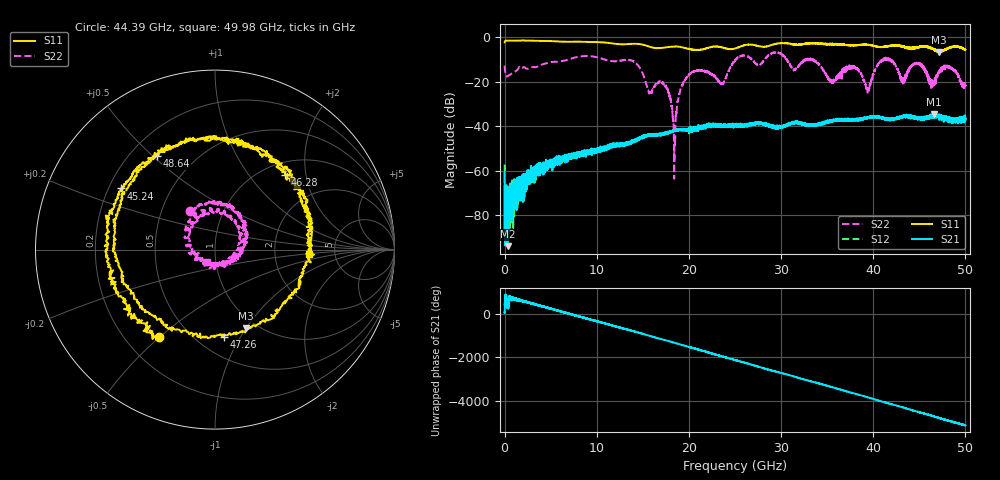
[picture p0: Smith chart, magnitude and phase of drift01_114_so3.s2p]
!Created with skrf (http://scikit-rf.org).
# Hz S RI R 50.0
!freq ReS11 ImS11 ReS21 ImS21 ReS12 ImS12 ReS22 ImS22
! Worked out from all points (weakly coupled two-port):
!   10001 points, 300 kHz to 50 GHz, reference 50 ohm
!   highest |S21| = -34.50 dB at 46.62 GHz (marker M1); lowest = -93.8 dB at 315.3 MHz (marker M2)
!   lowest |S11| = -6.5 dB at 47.15 GHz (marker M3), VSWR 2.78, Z = 44.6 - j50.1 ohm
!   |S11| at or under -10 dB: nowhere
!   |S22| runs from -63.5 to -6.7 dB; largest |S21 - S12| = 0.0047
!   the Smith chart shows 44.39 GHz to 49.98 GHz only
!   S11 on the Smith chart (normalised r, x): 44.39 GHz: 0.34, -0.50; 45.24 GHz: 0.25, +0.28; 46.28 GHz: 1.25, +1.53; 47.26 GHz: 0.67, -0.85; 48.64 GHz: 0.31, +0.51; 49.98 GHz: 3.21, -0.20
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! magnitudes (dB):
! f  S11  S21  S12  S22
! 300 kHz  -2.1  -60.9  -57.1  -12.7
! 315.3 MHz  -1.4  -93.8  -72.7  -17.5
! 8.335 GHz  -1.9  -52.3  -53.0  -8.5
! 16.67 GHz  -4.8  -43.5  -43.6  -20.0
! 17.74 GHz  -4.3  -42.9  -42.8  -24.3
! 18.44 GHz  -4.1  -41.6  -42.0  -46.1
! 19.95 GHz  -5.1  -42.0  -41.3  -17.1
! 23.62 GHz  -4.5  -39.7  -39.7  -20.9
! 25 GHz  -5.0  -39.8  -39.3  -10.3
! 33.34 GHz  -2.6  -39.6  -39.4  -9.8
! 39.46 GHz  -3.3  -35.9  -36.2  -23.2
! 41.67 GHz  -3.8  -36.3  -36.8  -10.1
! 43.19 GHz  -4.1  -35.5  -35.5  -19.7
! 44.39 GHz  -4.7  -36.0  -35.8  -11.9
! 45.24 GHz  -4.1  -36.7  -36.4  -12.2
! 46.28 GHz  -4.9  -35.3  -35.8  -21.8
! 46.62 GHz  -5.7  -34.5  -35.1  -21.3
! 47.15 GHz  -6.5  -37.1  -35.7  -15.7
! 47.26 GHz  -6.2  -35.2  -35.3  -15.7
! 48.64 GHz  -4.2  -36.2  -37.5  -14.2
! 49.98 GHz  -5.6  -35.9  -36.9  -21.5
! 50 GHz  -5.5  -36.6  -37.0  -21.9
